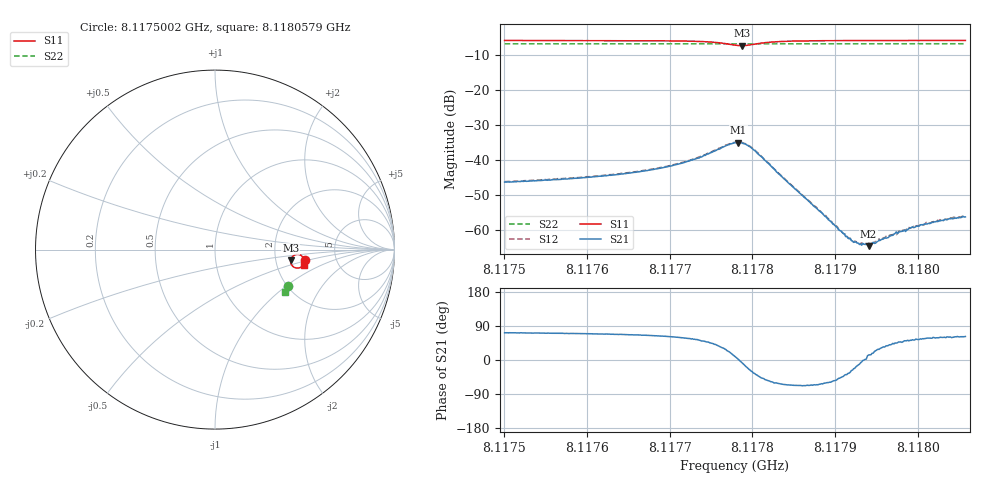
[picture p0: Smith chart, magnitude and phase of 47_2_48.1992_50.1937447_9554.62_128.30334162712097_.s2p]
#  HZ  S  RI  R  50.00
! Rohde & Schwarz Vector Network Analyzer
! Rohde-Schwarz,ZNB20-2Port,1311601062101988,3.16
! Created: UTC 3/20/2024, 11:38:06 AM
! freq[Hz]  re:S11  im:S11  re:S21  im:S21  re:S12  im:S12  re:S22  im:S22
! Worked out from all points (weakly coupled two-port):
!   401 points, 8.1175002 GHz to 8.1180579 GHz, reference 50 ohm
!   highest |S21| = -35.12 dB at 8.1177832 GHz (marker M1); lowest = -64.8 dB at 8.1179408 GHz (marker M2)
!   lowest |S11| = -7.4 dB at 8.1177874 GHz (marker M3), VSWR 2.48, Z = 121 - j17.5 ohm
!   |S11| at or under -10 dB: nowhere
!   |S22| runs from -6.9 to -6.9 dB; largest |S21 - S12| = 0.00058
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8.11750016e9  0.5017 -0.058  0.00148 0.00452  0.00155 0.00458  0.4046 -0.2019
8.11759358e9  0.4994 -0.0683  0.0019 0.00513  0.00202 0.00522  0.4016 -0.208
8.11764098e9  0.4972 -0.0749  0.00237 0.00574  0.00252 0.00584  0.4002 -0.211
8.117687e9  0.4931 -0.0835  0.00335 0.00669  0.00346 0.00677  0.3985 -0.2142
8.11773301e9  0.4806 -0.0967  0.00611 0.00844  0.00643 0.00844  0.3966 -0.2173
8.11776229e9  0.4524 -0.1024  0.0122 0.00815  0.0124 0.00824  0.3944 -0.219
8.11777902e9  0.4251 -0.0821  0.0172 0.00295  0.0174 0.00261  0.393 -0.2188
8.11778321e9  0.4216 -0.0712  0.0175 0.000417  0.0178 0.000185  0.3928 -0.2187
8.11778739e9  0.4215 -0.0592  0.0172 -0.00209  0.0174 -0.00239  0.3928 -0.2183
8.11779436e9  0.4293 -0.0411  0.0149 -0.00579  0.0151 -0.0061  0.3932 -0.2181
8.11780412e9  0.449 -0.0281  0.0103 -0.00808  0.0103 -0.00829  0.3939 -0.2183
8.11783061e9  0.4841 -0.0357  0.00309 -0.00569  0.00313 -0.00584  0.3947 -0.2206
8.11787244e9  0.4964 -0.0541  0.00091 -0.00211  0.000937 -0.00216  0.3936 -0.224
8.1179073e9  0.4984 -0.0632  0.000663 -0.000687  0.000648 -0.000699  0.3925 -0.2265
8.11791985e9  0.4986 -0.0656  0.000613 -0.000326  0.000613 -0.000359  0.3921 -0.2272
8.11792961e9  0.4988 -0.0674  0.0006 -0.000117  0.000624 -0.000143  0.3918 -0.228
8.11794076e9  0.4988 -0.0693  0.000563 0.000132  0.000632 0.000102  0.3913 -0.2287
8.11796586e9  0.4988 -0.0729  0.000609 0.000516  0.000641 0.000519  0.3905 -0.2304
8.11799235e9  0.4985 -0.0765  0.000659 0.000841  0.00067 0.000818  0.3896 -0.2321
8.1180063e9  0.4985 -0.0781  0.00065 0.000974  0.00069 0.000939  0.3892 -0.2329
8.11804255e9  0.498 -0.0822  0.000717 0.00123  0.000736 0.00128  0.388 -0.2352
8.11805789e9  0.4978 -0.0837  0.00071 0.00134  0.000746 0.00135  0.3873 -0.2362
